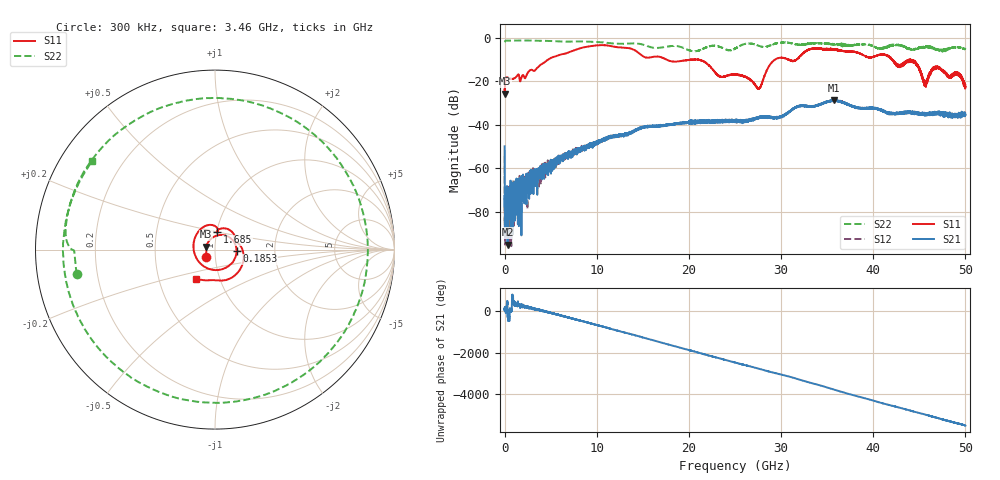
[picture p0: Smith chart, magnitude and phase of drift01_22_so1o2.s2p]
!Created with skrf (http://scikit-rf.org).
# Hz S RI R 50.0
!freq ReS11 ImS11 ReS21 ImS21 ReS12 ImS12 ReS22 ImS22
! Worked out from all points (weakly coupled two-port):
!   10001 points, 300 kHz to 50 GHz, reference 50 ohm
!   highest |S21| = -28.71 dB at 35.74 GHz (marker M1); lowest = -95.1 dB at 330.3 MHz (marker M2)
!   lowest |S11| = -25.8 dB at 5.3 MHz (marker M3), VSWR 1.11, Z = 45.3 + j1.45 ohm
!   |S11| at or under -10 dB: start of sweep to 4.763 GHz; 17.5 GHz to 29.41 GHz (11.91 GHz wide, 50.8 % of centre); 44.04 GHz to end of sweep (the widest 3 of 9)
!   |S22| runs from -6.5 to -1.4 dB; largest |S21 - S12| = 0.0038
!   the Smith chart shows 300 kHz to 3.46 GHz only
!   S11 on the Smith chart (normalised r, x): 300 kHz: 0.90, -0.08; 185.3 MHz: 1.27, -0.02; 1.685 GHz: 1.00, +0.20; 3.46 GHz: 0.77, -0.26
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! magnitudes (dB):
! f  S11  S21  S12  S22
! 300 kHz  -23.9  -50.0  -54.2  -2.1
! 5.3 MHz  -25.8  -74.1  -85.4  -2.1
! 185.3 MHz  -18.4  -74.0  -78.2  -1.4
! 330.3 MHz  -18.3  -95.1  -70.7  -1.4
! 1.685 GHz  -20.1  -67.7  -67.6  -1.4
! 3.46 GHz  -14.3  -62.6  -62.5  -1.5
! 8.335 GHz  -4.8  -51.3  -50.5  -1.8
! 16.67 GHz  -8.8  -40.7  -40.4  -4.8
! 21.15 GHz  -10.3  -39.0  -38.9  -5.8
! 23.37 GHz  -17.9  -38.3  -38.3  -4.4
! 25 GHz  -17.0  -38.6  -38.7  -5.1
! 27.58 GHz  -23.6  -36.8  -36.9  -3.8
! 29.28 GHz  -10.3  -36.8  -36.9  -2.8
! 31.45 GHz  -10.8  -32.5  -32.4  -3.0
! 33.34 GHz  -5.2  -31.6  -31.6  -2.7
! 35.74 GHz  -5.4  -28.7  -29.0  -2.9
! 41.67 GHz  -8.9  -34.6  -34.9  -4.3
! 42.74 GHz  -13.0  -34.9  -34.7  -3.4
! 44.41 GHz  -11.4  -34.4  -34.9  -5.4
! 45.64 GHz  -20.5  -35.5  -35.3  -4.3
! 46.93 GHz  -13.9  -34.7  -34.5  -5.4
! 50 GHz  -21.9  -35.7  -35.7  -5.5
